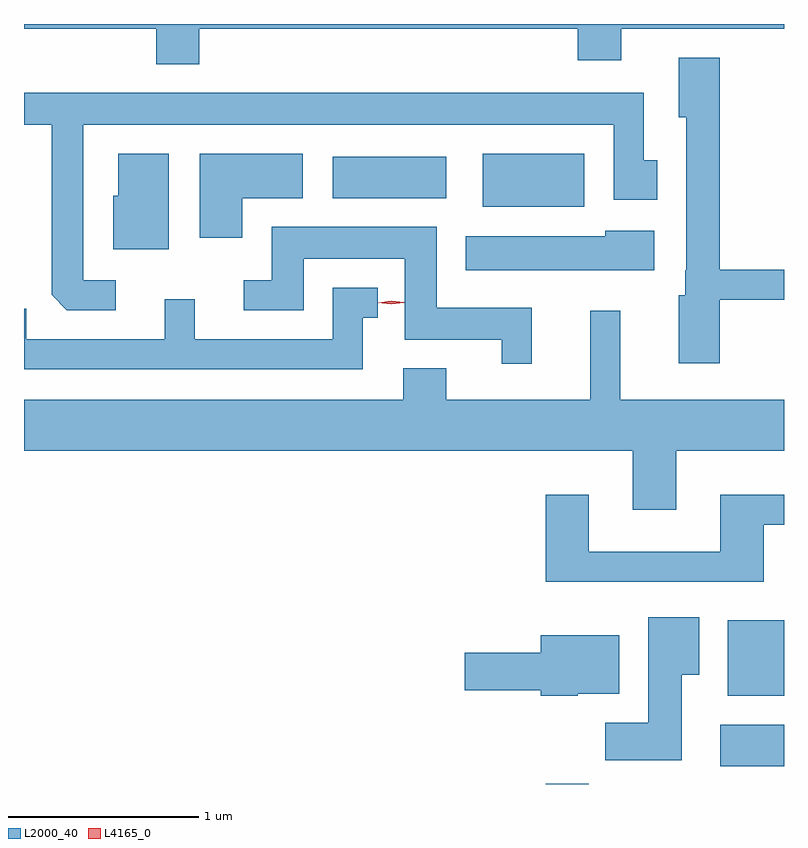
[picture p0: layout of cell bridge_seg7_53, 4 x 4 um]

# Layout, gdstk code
import gdstk
lib = gdstk.Library(unit=1e-6, precision=1e-09)
def R(c, l, rs):  # rectangles x0, y0, x1, y1
    for r in rs: c.add(gdstk.rectangle(r[:2], r[2:], *l))
def P(c, l, *ps):  # polygons
    for p in ps: c.add(gdstk.Polygon(p, *l))
L2000_40 = (2000, 40)
L4165_0 = (4165, 0)

bridge_seg7_53 = lib.new_cell('bridge_seg7_53')
R(bridge_seg7_53, L2000_40, [(1586.541,1752.522,1586.769,1752.524), (1587.461,1752.616,1587.796,1752.834), (1587.501,1752.986,1587.796,1753.384), (1586.211,1755.561,1586.744,1755.839), (1585.421,1755.606,1586.019,1755.824)])
P(bridge_seg7_53, L2000_40, [(1584.719,1756.496),(1586.711,1756.496),(1586.711,1756.331),(1586.939,1756.331),(1586.939,1756.496),(1587.796,1756.496),(1587.796,1756.522),(1583.796,1756.522),(1583.796,1756.496),(1584.491,1756.496),(1584.491,1756.311),(1584.719,1756.311)],
  [(1587.459,1755.071),(1587.796,1755.071),(1587.796,1755.229),(1587.459,1755.229),(1587.459,1756.344),(1587.241,1756.344),(1587.241,1756.031),(1587.281,1756.031),(1587.281,1755.225),(1587.276,1755.225),(1587.276,1755.094),(1587.241,1755.094),(1587.241,1754.736),(1587.459,1754.736)],
  [(1584.278,1755.174),(1584.109,1755.174),(1584.109,1755.991),(1586.901,1755.991),(1586.901,1755.596),(1587.129,1755.596),(1587.129,1755.804),(1587.059,1755.804),(1587.059,1756.159),(1583.796,1756.159),(1583.796,1755.991),(1583.941,1755.991),(1583.941,1755.097),(1584.022,1755.016),(1584.278,1755.016)],
  [(1584.559,1755.839),(1584.291,1755.839),(1584.291,1755.619),(1584.266,1755.619),(1584.266,1755.336),(1584.559,1755.336)],
  [(1584.944,1755.606),(1585.264,1755.606),(1585.264,1755.839),(1584.721,1755.839),(1584.721,1755.396),(1584.944,1755.396)],
  [(1586.469,1755.029),(1585.969,1755.029),(1585.969,1755.454),(1585.101,1755.454),(1585.101,1755.174),(1584.953,1755.174),(1584.953,1755.016),(1585.269,1755.016),(1585.269,1755.286),(1585.801,1755.286),(1585.801,1754.861),(1586.311,1754.861),(1586.311,1754.733),(1586.469,1754.733)],
  [(1587.114,1755.434),(1586.856,1755.434),(1586.856,1755.404),(1586.121,1755.404),(1586.121,1755.226),(1587.114,1755.226)],
  [(1585.579,1754.976),(1585.658,1754.976),(1585.658,1755.134),(1585.421,1755.134),(1585.421,1754.864),(1584.694,1754.864),(1584.694,1755.073),(1584.536,1755.073),(1584.536,1754.864),(1583.809,1754.864),(1583.809,1755.024),(1583.796,1755.024),(1583.796,1754.706),(1585.579,1754.706)],
  [(1587.229,1754.276),(1587.796,1754.276),(1587.796,1754.544),(1586.934,1754.544),(1586.934,1755.013),(1586.776,1755.013),(1586.776,1754.544),(1586.019,1754.544),(1586.019,1754.709),(1585.791,1754.709),(1585.791,1754.544),(1583.796,1754.544),(1583.796,1754.276),(1587.001,1754.276),(1587.001,1753.966),(1587.229,1753.966)],
  [(1587.689,1753.886),(1587.796,1753.886),(1587.796,1754.044),(1587.461,1754.044),(1587.461,1753.744),(1586.769,1753.744),(1586.769,1754.044),(1586.541,1754.044),(1586.541,1753.586),(1587.689,1753.586)],
  [(1587.259,1753.096),(1587.349,1753.096),(1587.349,1753.399),(1587.081,1753.399),(1587.081,1752.844),(1586.856,1752.844),(1586.856,1752.646),(1587.259,1752.646)],
  [(1586.71,1752.996),(1586.929,1752.996),(1586.929,1753.304),(1586.516,1753.304),(1586.516,1753.214),(1586.116,1753.214),(1586.116,1753.016),(1586.516,1753.016),(1586.516,1752.986),(1586.71,1752.986)])
P(bridge_seg7_53, L4165_0, [(1585.728,1755.046),(1585.659,1755.055),(1585.659,1755.056),(1585.659,1755.056),(1585.728,1755.066),(1585.798,1755.057),(1585.798,1755.057),(1585.798,1755.056)])

lib.write_gds('bridge_seg7_53.gds')
